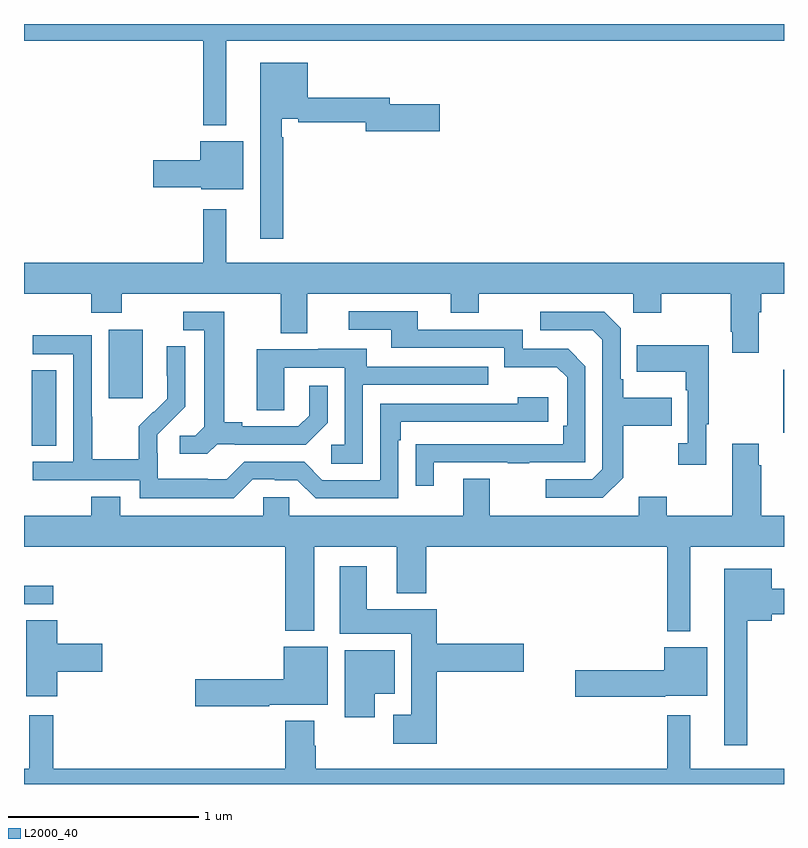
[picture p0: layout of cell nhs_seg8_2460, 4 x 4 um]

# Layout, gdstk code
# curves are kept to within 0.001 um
import gdstk
lib = gdstk.Library(unit=1e-6, precision=1e-09)
def R(c, l, rs):  # rectangles x0, y0, x1, y1
    for r in rs: c.add(gdstk.rectangle(r[:2], r[2:], *l))
def P(c, l, *ps):  # polygons
    for p in ps: c.add(gdstk.Polygon(p, *l))
L2000_40 = (2000, 40)

nhs_seg8_2460 = lib.new_cell('nhs_seg8_2460')
R(nhs_seg8_2460, L2000_40, [(265,1134.846,265.153,1134.944), (265.04,1135.681,265.171,1136.078), (268.996,1135.75,269,1136.081), (265.445,1135.929,265.624,1136.29)])
P(nhs_seg8_2460, L2000_40, [(266.065,1137.812),(269,1137.812),(269,1137.9),(265,1137.9),(265,1137.812),(265.944,1137.812),(265.944,1137.368),(266.065,1137.368)],
  [(266.365,1137.305),(266.357,1137.305),(266.357,1137.402),(266.443,1137.402),(266.443,1137.382),(266.798,1137.382),(266.798,1137.335),(267.187,1137.335),(267.187,1137.477),(266.926,1137.477),(266.926,1137.511),(266.494,1137.511),(266.494,1137.697),(266.243,1137.697),(266.243,1136.769),(266.365,1136.769)],
  [(266.155,1137.283),(265.928,1137.283),(265.928,1137.182),(265.68,1137.182),(265.68,1137.04),(265.932,1137.04),(265.932,1137.029),(266.155,1137.029)],
  [(268.867,1136.384),(268.88,1136.384),(268.88,1136.48),(269,1136.48),(269,1136.644),(266.065,1136.644),(266.065,1136.926),(265.944,1136.926),(265.944,1136.644),(265,1136.644),(265,1136.48),(265.355,1136.48),(265.355,1136.381),(265.515,1136.381),(265.515,1136.48),(266.351,1136.48),(266.351,1136.272),(266.491,1136.272),(266.491,1136.48),(267.245,1136.48),(267.245,1136.381),(267.393,1136.381),(267.393,1136.48),(268.206,1136.48),(268.206,1136.381),(268.353,1136.381),(268.353,1136.48),(268.72,1136.48),(268.72,1136.281),(268.727,1136.281),(268.727,1136.169),(268.867,1136.169)],
  [(267.157,1135.593),(267.547,1135.593),(267.547,1135.588),(267.659,1135.588),(267.659,1135.593),(267.954,1135.593),(267.954,1136.1),(267.864,1136.19),(267.624,1136.19),(267.624,1136.292),(267.073,1136.292),(267.073,1136.388),(266.709,1136.388),(266.709,1136.292),(266.933,1136.292),(266.933,1136.196),(267.528,1136.196),(267.528,1136.093),(267.805,1136.093),(267.858,1136.04),(267.858,1135.786),(267.838,1135.786),(267.838,1135.689),(267.061,1135.688),(267.061,1135.47),(267.157,1135.47)],
  [(268.153,1135.513),(268.153,1135.786),(268.409,1135.786),(268.409,1135.933),(268.153,1135.933),(268.153,1136.029),(268.14,1136.029),(268.14,1136.298),(268.053,1136.385),(267.717,1136.385),(267.717,1136.289),(267.993,1136.289),(268.044,1136.238),(268.044,1135.557),(267.99,1135.503),(267.747,1135.503),(267.747,1135.407),(268.047,1135.407)],
  [(266.016,1135.689),(266.11,1135.689),(266.11,1135.686),(266.482,1135.686),(266.598,1135.802),(266.598,1135.996),(266.501,1135.996),(266.501,1135.839),(266.444,1135.782),(266.149,1135.782),(266.149,1135.805),(266.053,1135.805),(266.053,1136.385),(265.839,1136.385),(265.839,1136.289),(265.949,1136.289),(265.949,1135.781),(265.902,1135.734),(265.821,1135.734),(265.821,1135.637),(265.964,1135.637)],
  [(266.205,1135.503),(266.321,1135.503),(266.321,1135.5),(266.439,1135.5),(266.535,1135.404),(266.97,1135.404),(266.97,1135.709),(266.983,1135.709),(266.983,1135.806),(267.76,1135.806),(267.76,1135.936),(267.599,1135.936),(267.599,1135.902),(266.874,1135.902),(266.874,1135.5),(266.571,1135.5),(266.475,1135.596),(266.16,1135.596),(266.067,1135.503),(265.967,1135.503),(265.967,1135.507),(265.704,1135.507),(265.704,1135.641),(265.702,1135.641),(265.702,1135.738),(265.848,1135.886),(265.848,1136.204),(265.752,1136.204),(265.752,1136.05),(265.754,1136.05),(265.754,1135.928),(265.683,1135.857),(265.68,1135.86),(265.603,1135.783),(265.603,1135.609),(265.359,1135.609),(265.359,1135.832),(265.356,1135.832),(265.356,1136.262),(265.047,1136.262),(265.047,1136.163),(265.26,1136.163),(265.26,1135.596),(265.047,1135.596),(265.047,1135.5),(265.608,1135.5),(265.608,1135.403),(266.105,1135.403)],
  [(268.591,1135.793),(268.603,1135.793),(268.603,1136.209),(268.225,1136.209),(268.225,1136.069),(268.482,1136.069),(268.482,1135.973),(268.494,1135.973),(268.494,1135.694),(268.443,1135.694),(268.443,1135.581),(268.591,1135.581)],
  [(266.784,1136.001),(267.443,1136.001),(267.443,1136.097),(266.803,1136.097),(266.803,1136.191),(266.549,1136.191),(266.549,1136.187),(266.225,1136.187),(266.225,1135.867),(266.37,1135.867),(266.37,1136.091),(266.688,1136.091),(266.688,1135.686),(266.616,1135.686),(266.616,1135.585),(266.784,1135.585)],
  [(265.355,1135.411),(265.355,1135.312),(265,1135.312),(265,1135.148),(266.375,1135.148),(266.375,1134.707),(266.527,1134.707),(266.527,1135.148),(266.963,1135.148),(266.963,1134.905),(267.116,1134.905),(267.116,1135.148),(268.386,1135.148),(268.386,1134.704),(268.507,1134.704),(268.507,1135.148),(269,1135.148),(269,1135.312),(268.88,1135.312),(268.88,1135.577),(268.867,1135.577),(268.867,1135.69),(268.727,1135.69),(268.727,1135.312),(268.383,1135.312),(268.383,1135.411),(268.235,1135.411),(268.235,1135.312),(267.451,1135.312),(267.451,1135.507),(267.311,1135.507),(267.311,1135.312),(266.397,1135.312),(266.397,1135.41),(266.259,1135.41),(266.259,1135.312),(265.507,1135.312),(265.507,1135.411)],
  [(267.173,1134.491),(267.631,1134.491),(267.631,1134.638),(267.173,1134.638),(267.173,1134.82),(266.803,1134.82),(266.803,1135.045),(266.663,1135.045),(266.663,1134.692),(267.038,1134.692),(267.038,1134.265),(266.943,1134.265),(266.943,1134.113),(267.173,1134.113)],
  [(268.807,1134.758),(268.936,1134.758),(268.936,1134.794),(269,1134.794),(269,1134.928),(268.936,1134.928),(268.936,1135.033),(268.685,1135.033),(268.685,1134.105),(268.807,1134.105)],
  [(265.175,1134.491),(265.411,1134.491),(265.411,1134.638),(265.175,1134.638),(265.175,1134.761),(265.013,1134.761),(265.013,1134.363),(265.175,1134.363)],
  [(266.291,1134.317),(266.599,1134.317),(266.599,1134.622),(266.366,1134.622),(266.366,1134.452),(265.902,1134.452),(265.902,1134.31),(266.291,1134.31)],
  [(268.374,1134.365),(268.597,1134.365),(268.597,1134.619),(268.37,1134.619),(268.37,1134.5),(267.9,1134.5),(267.9,1134.358),(268.374,1134.358)],
  [(266.845,1134.374),(266.95,1134.374),(266.95,1134.604),(266.687,1134.604),(266.687,1134.252),(266.845,1134.252)],
  [(269,1133.98),(268.507,1133.98),(268.507,1134.262),(268.386,1134.262),(268.386,1133.98),(266.535,1133.98),(266.535,1134.101),(266.527,1134.101),(266.527,1134.232),(266.375,1134.232),(266.375,1133.98),(265.154,1133.98),(265.154,1134.262),(265.028,1134.262),(265.028,1133.98),(265,1133.98),(265,1133.9),(269,1133.9)])

lib.write_gds('nhs_seg8_2460.gds')
